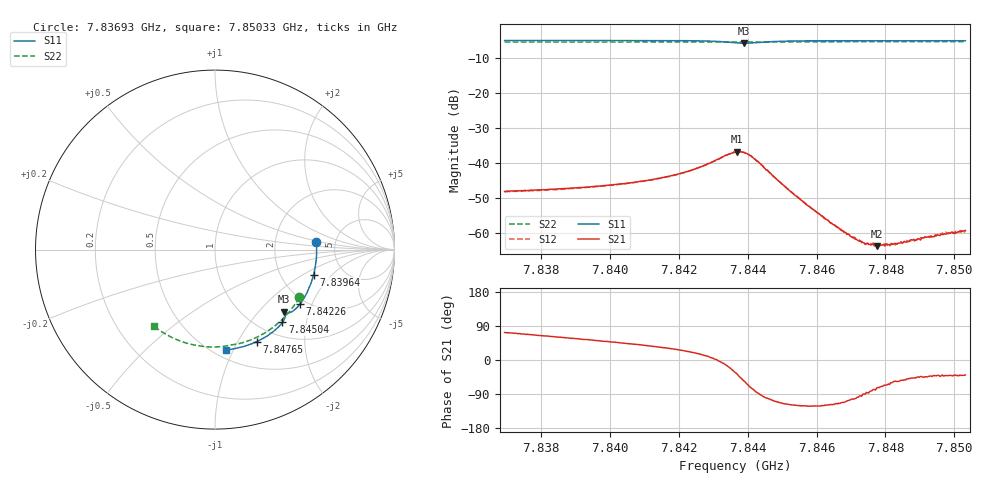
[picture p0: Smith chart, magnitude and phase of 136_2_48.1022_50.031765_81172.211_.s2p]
#  HZ  S  RI  R  50.00
! Rohde & Schwarz Vector Network Analyzer
! Rohde-Schwarz,ZNB20-2Port,1311601062101988,3.16
! Created: UTC 12/23/2023, 3:48:17 AM
! freq[Hz]  re:S11  im:S11  re:S21  im:S21  re:S12  im:S12  re:S22  im:S22
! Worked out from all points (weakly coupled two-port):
!   401 points, 7.83693 GHz to 7.85033 GHz, reference 50 ohm
!   highest |S21| = -36.76 dB at 7.8437 GHz (marker M1); lowest = -63.8 dB at 7.84775 GHz (marker M2)
!   lowest |S11| = -5.7 dB at 7.8439 GHz (marker M3), VSWR 3.14, Z = 73.6 - j69.4 ohm
!   |S11| at or under -10 dB: nowhere
!   |S22| runs from -5.4 to -5.3 dB; largest |S21 - S12| = 0.00028
!   S11 on the Smith chart (normalised r, x): 7.83693 GHz: 3.56, +0.42; 7.83964 GHz: 3.05, -1.25; 7.84226 GHz: 1.86, -1.64; 7.84504 GHz: 1.25, -1.46; 7.84765 GHz: 0.80, -1.20; 7.85033 GHz: 0.57, -0.93
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7.836931e9  0.5647 0.0402  0.00117 0.00374  0.00118 0.00371  0.4693 -0.2661
7.839175e9  0.5563 -0.1088  0.00259 0.00365  0.00255 0.00361  0.3738 -0.3902
7.839644e9  0.5495 -0.1393  0.00295 0.00362  0.00288 0.0036  0.3495 -0.4123
7.841419e9  0.5063 -0.2523  0.00498 0.0034  0.00496 0.0034  0.2465 -0.4818
7.842256e9  0.474 -0.3029  0.00701 0.0029  0.00698 0.00287  0.1927 -0.5058
7.843126e9  0.4243 -0.3481  0.0113 -0.000243  0.0112 -0.000173  0.1341 -0.5236
7.843629e9  0.3894 -0.352  0.012 -0.00774  0.0121 -0.00747  0.1004 -0.5296
7.843696e9  0.3867 -0.3501  0.0115 -0.00891  0.0114 -0.00875  0.0961 -0.5303
7.843897e9  0.3848 -0.3455  0.00794 -0.0118  0.0079 -0.0117  0.0835 -0.5324
7.844164e9  0.3908 -0.3495  0.00244 -0.0116  0.00235 -0.0116  0.0663 -0.5359
7.845035e9  0.376 -0.4051  -0.00202 -0.00438  -0.00199 -0.00439  0.00568 -0.5426
7.845872e9  0.3347 -0.4489  -0.00115 -0.00189  -0.00118 -0.00191  -0.0534 -0.5408
7.84681e9  0.2819 -0.4864  -0.000376 -0.000957  -0.000392 -0.000922  -0.1185 -0.5311
7.847178e9  0.2601 -0.4987  -0.000118 -0.000788  -0.00012 -0.000807  -0.1437 -0.5251
7.847379e9  0.2481 -0.505  4.76e-06 -0.000723  -2.48e-05 -0.000745  -0.1572 -0.5214
7.847647e9  0.2317 -0.5129  0.000145 -0.000676  0.000131 -0.000709  -0.1753 -0.5157
7.847747e9  0.2256 -0.5156  0.000185 -0.000621  0.000174 -0.000669  -0.182 -0.5136
7.848116e9  0.2028 -0.5253  0.000287 -0.000615  0.000276 -0.000586  -0.2061 -0.5047
7.849053e9  0.1431 -0.5445  0.00061 -0.000582  0.000607 -0.000601  -0.2655 -0.4765
7.849355e9  0.1235 -0.549  0.000638 -0.000603  0.000646 -0.00059  -0.2839 -0.4661
7.849589e9  0.1083 -0.5522  0.00067 -0.000634  0.000721 -0.000647  -0.2978 -0.4573
7.850326e9  0.0599 -0.5592  0.000837 -0.000691  0.000823 -0.000699  -0.34 -0.4274
